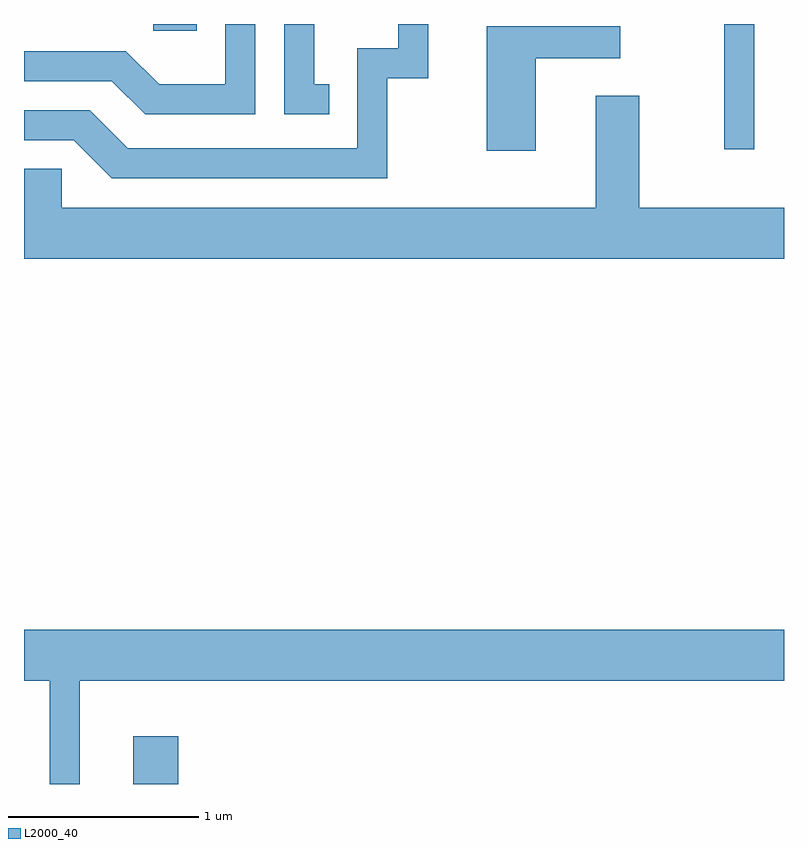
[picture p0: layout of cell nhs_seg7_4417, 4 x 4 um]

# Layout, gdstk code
import gdstk
lib = gdstk.Library(unit=1e-6, precision=1e-09)
def R(c, l, rs):  # rectangles x0, y0, x1, y1
    for r in rs: c.add(gdstk.rectangle(r[:2], r[2:], *l))
def P(c, l, *ps):  # polygons
    for p in ps: c.add(gdstk.Polygon(p, *l))
L2000_40 = (2000, 40)

nhs_seg7_4417 = lib.new_cell('nhs_seg7_4417')
R(nhs_seg7_4417, L2000_40, [(322.186,1678.252,322.424,1678.504), (325.296,1681.593,325.454,1682.252), (322.291,1682.216,322.519,1682.252)])
P(nhs_seg7_4417, L2000_40, [(323.524,1681.966),(323.739,1681.966),(323.739,1682.252),(323.581,1682.252),(323.581,1682.124),(323.366,1682.124),(323.366,1681.599),(322.157,1681.599),(321.957,1681.799),(321.611,1681.799),(321.611,1681.641),(321.874,1681.641),(322.074,1681.441),(323.524,1681.441)],
  [(323.218,1681.934),(323.139,1681.934),(323.139,1682.252),(322.981,1682.252),(322.981,1681.776),(323.218,1681.776)],
  [(322.829,1682.252),(322.671,1682.252),(322.671,1681.934),(322.322,1681.934),(322.147,1682.109),(321.611,1682.109),(321.611,1681.951),(322.074,1681.951),(322.249,1681.776),(322.829,1681.776)],
  [(324.304,1682.071),(324.748,1682.071),(324.748,1682.239),(324.046,1682.239),(324.046,1681.586),(324.304,1681.586)],
  [(325.611,1681.284),(324.849,1681.284),(324.849,1681.874),(324.621,1681.874),(324.621,1681.284),(321.809,1681.284),(321.809,1681.489),(321.611,1681.489),(321.611,1681.016),(325.611,1681.016)],
  [(321.904,1678.796),(325.611,1678.796),(325.611,1679.064),(321.611,1679.064),(321.611,1678.796),(321.746,1678.796),(321.746,1678.252),(321.904,1678.252)])

lib.write_gds('nhs_seg7_4417.gds')
